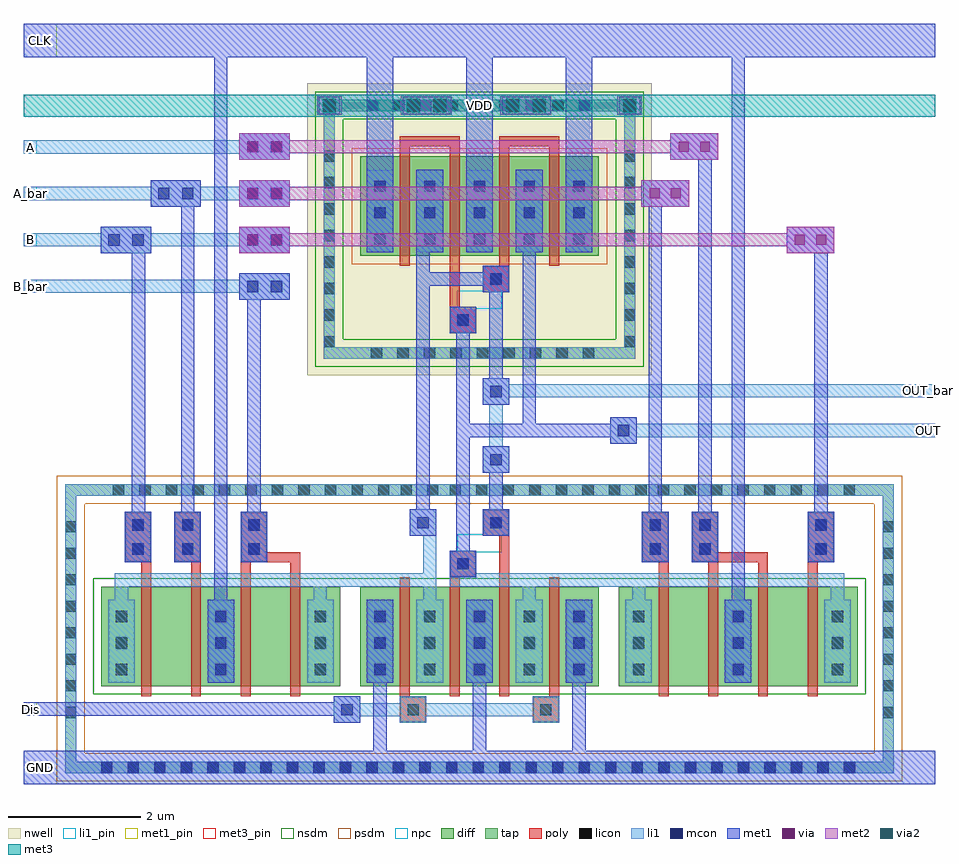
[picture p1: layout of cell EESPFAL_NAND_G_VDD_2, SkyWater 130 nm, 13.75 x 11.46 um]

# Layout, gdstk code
import gdstk
lib = gdstk.Library(unit=1e-6, precision=1e-09)
def R(c, l, rs):  # rectangles x0, y0, x1, y1
    for r in rs: c.add(gdstk.rectangle(r[:2], r[2:], *l))
def A(c, l, x, y, w, h, nx, ny, dx, dy):  # array of equal rectangles
    R(c, l, [(x+i*dx, y+j*dy, x+i*dx+w, y+j*dy+h) for i in range(nx) for j in range(ny)])
nwell = (64, 20)
diff = (65, 20)
tap = (65, 44)
poly = (66, 20)
licon = (66, 44)
li1_pin = (67, 16)
li1 = (67, 20)
mcon = (67, 44)
met1_pin = (68, 16)
met1 = (68, 20)
via = (68, 44)
met2 = (69, 20)
via2 = (69, 44)
met3_pin = (70, 16)
met3 = (70, 20)
nsdm = (93, 44)
psdm = (94, 20)
npc = (95, 20)

eespfal_nand_g_vdd_2 = lib.new_cell('EESPFAL_NAND_G_VDD_2')
R(eespfal_nand_g_vdd_2, nwell, [(4.275,6.165,9.475,10.565)])
A(eespfal_nand_g_vdd_2, diff, 1.175, 1.475, 3.6, 1.5, 3, 1, 3.9, 0)
R(eespfal_nand_g_vdd_2, diff, [(5.075,7.965,8.675,9.465)])
R(eespfal_nand_g_vdd_2, tap, [(0.625,0.165,13.125,0.335), (0.625,0.335,0.795,4.35), (12.955,0.335,13.125,4.35), (0.625,4.35,13.125,4.52), (4.525,6.415,9.225,6.585), (4.525,6.585,4.695,10.145), (9.055,6.585,9.225,10.145), (4.525,10.145,9.225,10.315)])
A(eespfal_nand_g_vdd_2, poly, 1.775, 1.325, 0.15, 2.02, 4, 1, 0.75, 0)
A(eespfal_nand_g_vdd_2, poly, 9.575, 1.325, 0.15, 2.02, 4, 1, 0.75, 0)
R(eespfal_nand_g_vdd_2, poly, [(5.675,0.92,6.075,1.32), (7.675,0.92,8.075,1.32), (5.675,1.32,5.825,3.12), (6.425,1.32,6.575,3.12), (7.175,1.32,7.325,3.74), (7.925,1.32,8.075,3.12), (6.425,3.12,6.825,3.52), (1.525,3.345,1.925,4.105), (2.275,3.345,2.675,4.105), (3.275,3.345,4.175,3.495), (9.325,3.345,9.725,4.105), (10.075,3.345,11.225,3.495), (11.825,3.345,12.225,4.105), (3.275,3.495,3.675,4.105), (10.075,3.495,10.475,4.105), (6.925,3.74,7.325,4.14), (6.425,6.795,6.825,7.195), (6.425,7.195,6.575,9.615), (6.925,7.415,7.325,7.815), (5.675,7.815,5.825,9.615), (7.175,7.815,7.325,9.615), (7.925,7.815,8.075,9.615), (5.675,9.615,6.575,9.765), (7.175,9.615,8.075,9.765)])
A(eespfal_nand_g_vdd_2, licon, 1.17, 0.165, 0.17, 0.17, 29, 1, 0.4, 0)
A(eespfal_nand_g_vdd_2, licon, 0.625, 0.995, 0.17, 0.17, 1, 8, 0, 0.4)
A(eespfal_nand_g_vdd_2, licon, 12.955, 0.995, 0.17, 0.17, 1, 8, 0, 0.4)
A(eespfal_nand_g_vdd_2, licon, 1.39, 1.64, 0.17, 0.17, 3, 3, 1.5, 0.4)
A(eespfal_nand_g_vdd_2, licon, 5.29, 1.64, 0.17, 0.17, 5, 3, 0.75, 0.4)
A(eespfal_nand_g_vdd_2, licon, 9.19, 1.64, 0.17, 0.17, 3, 3, 1.5, 0.4)
A(eespfal_nand_g_vdd_2, licon, 1.345, 4.35, 0.17, 0.17, 11, 1, 0.4, 0)
A(eespfal_nand_g_vdd_2, licon, 6.425, 4.35, 0.17, 0.17, 8, 1, 0.4, 0)
A(eespfal_nand_g_vdd_2, licon, 9.565, 4.35, 0.17, 0.17, 8, 1, 0.4, 0)
A(eespfal_nand_g_vdd_2, licon, 5.235, 6.415, 0.17, 0.17, 9, 1, 0.4, 0)
A(eespfal_nand_g_vdd_2, licon, 4.525, 6.585, 0.17, 0.17, 1, 8, 0, 0.4)
A(eespfal_nand_g_vdd_2, licon, 9.055, 6.585, 0.17, 0.17, 1, 8, 0, 0.4)
A(eespfal_nand_g_vdd_2, licon, 5.29, 8.13, 0.17, 0.17, 5, 3, 0.75, 0.4)
A(eespfal_nand_g_vdd_2, licon, 5.175, 10.145, 0.17, 0.17, 9, 1, 0.4, 0)
R(eespfal_nand_g_vdd_2, licon, [(5.79,1.035,5.96,1.205), (7.79,1.035,7.96,1.205), (6.54,3.235,6.71,3.405), (1.64,3.46,1.81,3.63), (2.39,3.46,2.56,3.63), (3.39,3.46,3.56,3.63), (9.44,3.46,9.61,3.63), (10.19,3.46,10.36,3.63), (11.94,3.46,12.11,3.63), (1.64,3.82,1.81,3.99), (2.39,3.82,2.56,3.99), (3.39,3.82,3.56,3.99), (9.44,3.82,9.61,3.99), (10.19,3.82,10.36,3.99), (11.94,3.82,12.11,3.99), (7.04,3.855,7.21,4.025), (5.685,4.35,5.855,4.52), (6.085,4.35,6.255,4.52), (6.54,6.91,6.71,7.08), (7.04,7.53,7.21,7.7)])
A(eespfal_nand_g_vdd_2, li1_pin, 0, 7.405, 0.2, 0.2, 1, 4, 0, 0.7)
R(eespfal_nand_g_vdd_2, li1_pin, [(13.55,5.23,13.75,5.43), (13.55,5.83,13.75,6.03)])
A(eespfal_nand_g_vdd_2, li1, 1.275, 1.525, 0.4, 1.25, 3, 1, 1.5, 0)
A(eespfal_nand_g_vdd_2, li1, 5.175, 1.525, 0.4, 1.25, 5, 2, 0.75, 6.49)
A(eespfal_nand_g_vdd_2, li1, 9.075, 1.525, 0.4, 1.25, 3, 1, 1.5, 0)
A(eespfal_nand_g_vdd_2, li1, 0, 7.405, 4.015, 0.2, 1, 4, 0, 0.7)
R(eespfal_nand_g_vdd_2, li1, [(0.625,0.165,13.125,0.335), (0.625,0.335,0.795,4.35), (12.955,0.335,13.125,4.35), (4.675,0.92,5.075,1.02), (5.675,0.92,6.075,1.02), (7.675,0.92,8.075,1.02), (4.675,1.02,8.075,1.22), (4.675,1.22,5.075,1.32), (5.675,1.22,6.075,1.32), (7.675,1.22,8.075,1.32), (1.375,2.775,1.575,2.975), (4.375,2.775,4.575,2.975), (6.025,2.775,6.225,2.975), (7.525,2.775,7.725,2.975), (9.175,2.775,9.375,2.975), (12.175,2.775,12.375,2.975), (1.375,2.975,6.225,3.175), (6.425,2.975,12.375,3.175), (6.025,3.175,6.225,3.74), (6.425,3.175,6.825,3.52), (1.525,3.345,1.925,4.105), (2.275,3.345,2.675,4.105), (3.275,3.345,3.675,4.105), (9.325,3.345,9.725,4.105), (10.075,3.345,10.475,4.105), (11.825,3.345,12.225,4.105), (5.825,3.74,6.225,4.14), (6.925,3.74,7.325,4.14), (0.625,4.35,13.125,4.52), (6.925,4.69,7.325,5.09), (7.025,5.09,7.225,5.72), (8.845,5.13,9.245,5.23), (8.845,5.23,13.75,5.43), (8.845,5.43,9.245,5.53), (6.925,5.72,7.325,5.83), (6.925,5.83,13.75,6.03), (6.925,6.03,7.325,6.12), (4.525,6.415,9.225,6.585), (4.525,6.585,4.695,10.145), (9.055,6.585,9.225,10.145), (6.425,6.795,6.825,7.195), (3.255,7.3,4.015,7.405), (6.925,7.415,7.325,7.815), (3.255,7.605,4.015,7.7), (1.165,8.005,1.925,8.105), (3.255,8.005,4.015,8.105), (1.165,8.305,1.925,8.405), (3.255,8.305,4.015,8.405), (1.915,8.705,2.675,8.805), (3.255,8.705,4.015,8.805), (1.915,9.005,2.675,9.105), (3.255,9.005,4.015,9.105), (3.255,9.41,4.015,9.505), (3.255,9.705,4.015,9.81), (4.525,10.145,9.225,10.315)])
A(eespfal_nand_g_vdd_2, mcon, 1.17, 0.165, 0.17, 0.17, 29, 1, 0.4, 0)
A(eespfal_nand_g_vdd_2, mcon, 2.89, 1.64, 0.17, 0.17, 1, 3, 0, 0.4)
A(eespfal_nand_g_vdd_2, mcon, 5.29, 1.64, 0.17, 0.17, 3, 3, 1.5, 0.4)
A(eespfal_nand_g_vdd_2, mcon, 10.69, 1.64, 0.17, 0.17, 1, 3, 0, 0.4)
A(eespfal_nand_g_vdd_2, mcon, 5.29, 8.13, 0.17, 0.17, 5, 3, 0.75, 0.4)
R(eespfal_nand_g_vdd_2, mcon, [(4.79,1.035,4.96,1.205), (6.54,3.235,6.71,3.405), (1.64,3.46,1.81,3.63), (2.39,3.46,2.56,3.63), (3.39,3.46,3.56,3.63), (9.44,3.46,9.61,3.63), (10.19,3.46,10.36,3.63), (11.94,3.46,12.11,3.63), (1.64,3.82,1.81,3.99), (2.39,3.82,2.56,3.99), (3.39,3.82,3.56,3.99), (9.44,3.82,9.61,3.99), (10.19,3.82,10.36,3.99), (11.94,3.82,12.11,3.99), (5.94,3.855,6.11,4.025), (7.04,3.855,7.21,4.025), (7.04,4.805,7.21,4.975), (8.96,5.245,9.13,5.415), (7.04,5.835,7.21,6.005), (6.54,6.91,6.71,7.08), (3.37,7.415,3.54,7.585), (3.73,7.415,3.9,7.585), (7.04,7.53,7.21,7.7), (1.28,8.12,1.45,8.29), (1.64,8.12,1.81,8.29), (3.37,8.12,3.54,8.29), (3.73,8.12,3.9,8.29), (2.03,8.82,2.2,8.99), (2.39,8.82,2.56,8.99), (3.37,8.82,3.54,8.99), (3.73,8.82,3.9,8.99), (3.37,9.525,3.54,9.695), (3.73,9.525,3.9,9.695), (4.525,10.145,4.695,10.315), (5.79,10.145,5.96,10.315), (6.19,10.145,6.36,10.315), (7.29,10.145,7.46,10.315), (7.69,10.145,7.86,10.315), (9.055,10.145,9.225,10.315)])
R(eespfal_nand_g_vdd_2, met1_pin, [(0,0,0.5,0.5), (0,1.03,0.2,1.23), (0,10.96,0.5,11.46)])
A(eespfal_nand_g_vdd_2, met1, 5.275, 0.5, 0.2, 1.025, 3, 1, 1.5, 0)
A(eespfal_nand_g_vdd_2, met1, 5.175, 1.525, 0.4, 1.25, 3, 1, 1.5, 0)
A(eespfal_nand_g_vdd_2, met1, 5.175, 8.015, 0.4, 2.945, 3, 1, 1.5, 0)
R(eespfal_nand_g_vdd_2, met1, [(0,0,13.75,0.5), (4.675,0.92,5.075,1.03), (0,1.03,5.075,1.23), (4.675,1.23,5.075,1.32), (2.775,1.525,3.175,2.775), (10.575,1.525,10.975,2.775), (2.875,2.775,3.075,10.96), (10.675,2.775,10.875,10.96), (6.425,3.12,6.825,3.52), (1.525,3.345,1.925,4.105), (2.275,3.345,2.675,4.105), (3.275,3.345,3.675,4.105), (9.325,3.345,9.725,4.105), (10.075,3.345,10.475,4.105), (11.825,3.345,12.225,4.105), (6.525,3.52,6.725,5.23), (5.825,3.74,6.225,4.14), (6.925,3.74,7.325,4.14), (1.635,4.105,1.835,8.005), (2.375,4.105,2.575,8.705), (3.375,4.105,3.575,7.3), (9.425,4.105,9.625,8.705), (10.175,4.105,10.375,9.41), (11.925,4.105,12.125,8.005), (5.925,4.14,6.125,7.515), (7.025,4.14,7.225,4.69), (6.925,4.69,7.325,5.09), (8.845,5.13,9.245,5.23), (6.525,5.23,9.245,5.43), (6.525,5.43,6.725,6.795), (7.525,5.43,7.725,8.015), (8.845,5.43,9.245,5.53), (6.925,5.72,7.325,6.12), (7.025,6.12,7.225,7.415), (6.425,6.795,6.825,7.195), (3.255,7.3,4.015,7.7), (6.925,7.415,7.325,7.515), (5.925,7.515,7.325,7.715), (5.925,7.715,6.125,8.015), (6.925,7.715,7.325,7.815), (1.165,8.005,1.925,8.405), (3.255,8.005,4.015,8.405), (11.505,8.005,12.225,8.405), (5.925,8.015,6.325,9.265), (7.425,8.015,7.825,9.265), (1.915,8.705,2.675,9.105), (3.255,8.705,4.015,9.105), (9.315,8.705,10.035,9.105), (3.255,9.41,4.015,9.81), (9.755,9.41,10.475,9.81), (4.45,10.1,4.77,10.36), (5.715,10.1,6.45,10.36), (7.215,10.1,7.95,10.36), (8.98,10.1,9.3,10.36), (0,10.96,13.75,11.46)])
R(eespfal_nand_g_vdd_2, via, [(3.38,8.13,3.53,8.28), (3.74,8.13,3.89,8.28), (11.63,8.13,11.78,8.28), (11.95,8.13,12.1,8.28), (3.38,8.83,3.53,8.98), (3.74,8.83,3.89,8.98), (9.44,8.83,9.59,8.98), (9.76,8.83,9.91,8.98), (3.38,9.535,3.53,9.685), (3.74,9.535,3.89,9.685), (9.88,9.535,10.03,9.685), (10.2,9.535,10.35,9.685), (4.535,10.155,4.685,10.305), (5.8,10.155,5.95,10.305), (6.2,10.155,6.35,10.305), (7.3,10.155,7.45,10.305), (7.7,10.155,7.85,10.305), (9.065,10.155,9.215,10.305)])
R(eespfal_nand_g_vdd_2, met2, [(3.255,8.005,4.015,8.105), (11.505,8.005,12.225,8.105), (3.255,8.105,12.225,8.305), (3.255,8.305,4.015,8.405), (11.505,8.305,12.225,8.405), (3.255,8.705,4.015,8.805), (9.315,8.705,10.035,8.805), (3.255,8.805,10.035,9.005), (3.255,9.005,4.015,9.105), (9.315,9.005,10.035,9.105), (3.255,9.41,4.015,9.51), (9.755,9.41,10.475,9.51), (3.255,9.51,10.475,9.71), (3.255,9.71,4.015,9.81), (9.755,9.71,10.475,9.81), (4.425,10.09,4.795,10.37), (5.69,10.09,6.46,10.37), (7.19,10.09,7.96,10.37), (8.955,10.09,9.325,10.37)])
R(eespfal_nand_g_vdd_2, via2, [(4.51,10.13,4.71,10.33), (5.775,10.13,5.975,10.33), (6.175,10.13,6.375,10.33), (7.275,10.13,7.475,10.33), (7.675,10.13,7.875,10.33), (9.04,10.13,9.24,10.33)])
R(eespfal_nand_g_vdd_2, met3_pin, [(0,10.065,13.75,10.395)])
R(eespfal_nand_g_vdd_2, met3, [(0,10.065,13.75,10.395)])
R(eespfal_nand_g_vdd_2, nsdm, [(1.05,1.35,12.7,3.1), (4.4,6.29,9.35,6.71), (4.4,6.71,4.82,10.02), (8.93,6.71,9.35,10.02), (4.4,10.02,9.35,10.44)])
R(eespfal_nand_g_vdd_2, psdm, [(0.5,0.04,13.25,0.46), (0.5,0.46,0.92,4.225), (12.83,0.46,13.25,4.225), (0.5,4.225,13.25,4.645), (4.95,7.84,8.8,9.59)])
R(eespfal_nand_g_vdd_2, npc, [(5.69,0.935,6.06,1.305), (7.69,0.935,8.06,1.305), (6.44,3.135,6.81,3.495), (1.54,3.36,1.91,4.09), (2.29,3.36,2.66,4.09), (3.29,3.36,3.66,4.09), (9.34,3.36,9.71,4.09), (10.09,3.36,10.46,4.09), (11.84,3.36,12.21,4.09), (6.44,3.495,7.21,3.505), (6.54,3.505,7.21,3.755), (6.54,3.755,7.31,3.765), (6.94,3.765,7.31,4.125), (6.44,6.81,6.81,7.17), (6.44,7.17,7.21,7.18), (6.54,7.18,7.21,7.43), (6.54,7.43,7.31,7.44), (6.94,7.44,7.31,7.8)])
eespfal_nand_g_vdd_2.add(gdstk.Label('A', (0.1,9.605), layer=67, texttype=5))
eespfal_nand_g_vdd_2.add(gdstk.Label('B', (0.1,8.205), layer=67, texttype=5))
eespfal_nand_g_vdd_2.add(gdstk.Label('A_bar', (0.1,8.905), layer=67, texttype=5))
eespfal_nand_g_vdd_2.add(gdstk.Label('B_bar', (0.1,7.505), layer=67, texttype=5))
eespfal_nand_g_vdd_2.add(gdstk.Label('OUT_bar', (13.65,5.93), layer=67, texttype=5))
eespfal_nand_g_vdd_2.add(gdstk.Label('OUT', (13.65,5.33), layer=67, texttype=5))
eespfal_nand_g_vdd_2.add(gdstk.Label('VDD', (6.875,10.23), layer=70, texttype=5))
eespfal_nand_g_vdd_2.add(gdstk.Label('Dis', (0.1,1.13), layer=68, texttype=5))
eespfal_nand_g_vdd_2.add(gdstk.Label('GND', (0.25,0.25), layer=68, texttype=5))
eespfal_nand_g_vdd_2.add(gdstk.Label('CLK', (0.25,11.21), layer=68, texttype=5))

lib.write_gds('EESPFAL_NAND_G_VDD_2.gds')
